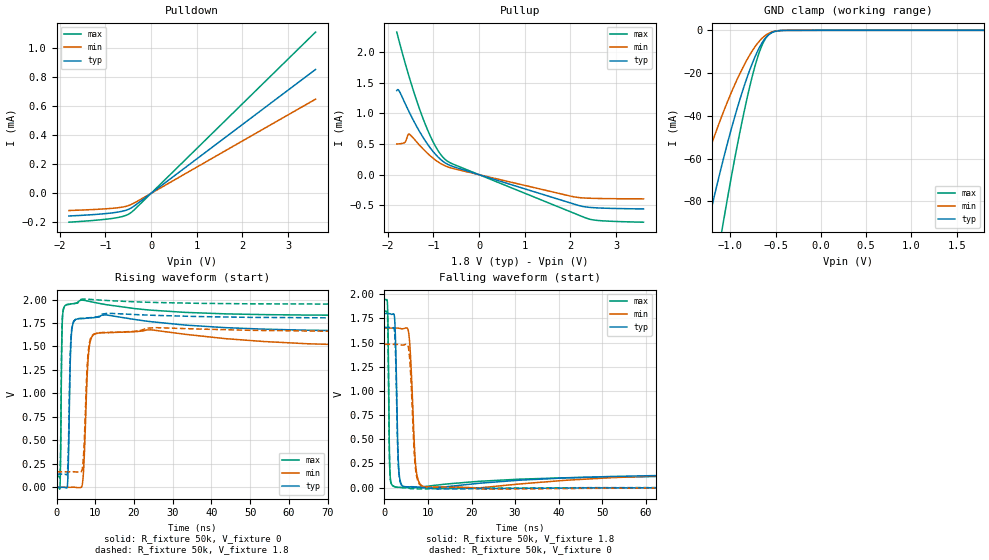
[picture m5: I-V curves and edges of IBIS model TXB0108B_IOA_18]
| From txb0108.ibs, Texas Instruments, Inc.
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[Model]   TXB0108B_IOA_18
Model_type  I/O
Enable   Active-High
Vref =   0
Rref =   1e6
Cref =   15p
Vmeas =   0.9
Vinl=0.5775
Vinh=1.2675
| variable   typ   min   max
C_comp   5.32pF   4.45pF   5.77pF
| C_pullup   5.21pF   4.42pF   5.60pF
| C_pulldown   11.66pF   3.88pF   30.69pF
| C_tri-state   5.32pF   4.45pF   5.77pF
[Temperature Range]   40   100   -40
| Ambient temperature   25   85   -40
[Voltage range]   1.8   1.65   1.95
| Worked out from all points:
|   slope of the pulldown table from 0 to 0.27 V, typ, clamps not added: 4.22 kohm
|   slope of the pullup table from 0 to 0.27 V, typ, clamps not added: 4.32 kohm
|   GND clamp passes 1 mA (typ) near -0.54 V on its own axis
|   rising waveform, R_fixture 50k, V_fixture 0: 20-80 % time 453ps typ, 786ps min, 265ps max; typ from 0 V to 1.66 V
|   falling waveform, R_fixture 50k, V_fixture 1.8: 20-80 % time 469ps typ, 850ps min, 265ps max; typ from 1.8 V to 0.14 V
|   rising waveform, R_fixture 50k, V_fixture 1.8: 20-80 % time 504ps typ, 884ps min, 289ps max; typ from 0.14 V to 1.8 V
|   falling waveform, R_fixture 50k, V_fixture 0: 20-80 % time 509ps typ, 932ps min, 284ps max; typ from 1.66 V to 0 V
[GND Clamp]
| TXB0108B_IOA_18
|   Voltage   I(typ)   I(min)   I(max)
-1.8V     -206.9mA   -138.6mA   -293.4mA
-1.5V     -140.7mA   -92.23mA   -204.1mA
-1.475V   -135.4mA   -88.63mA   -196.9mA
-1.255V   -91.66mA   -59mA      -135.4mA
-1.095V   -63.03mA   -40.08mA   -93.8mA
-1.075V   -59.68mA   -37.89mA   -88.84mA
-920mV    -35.74mA   -22.4mA    -52.83mA
-775mV    -17.27mA   -10.7mA    -24.26mA
-675mV    -7.671mA   -4.812mA   -9.558mA
-585mV    -2.367mA   -1.593mA   -2.348mA
-420mV    -66.39uA   -61.13uA   -31.92uA
1.8V      288.8pA    2.007nA    56.61pA
[Pulldown]
| TXB0108B_IOA_18
|   Voltage   I(typ)   I(min)   I(max)
-1.8V     -155.7uA   -118.2uA   -198.4uA
-800mV    -132.2uA   -101.5uA   -170.2uA
-575mV    -118.6uA   -91.27uA   -154.4uA
-435mV    -100.3uA   -76.61uA   -131.4uA
3.6V      851.7uA    647.4uA    1.108mA
[Pullup]
| TXB0108B_IOA_18
|   Voltage   I(typ)   I(min)   I(max)
-1.8V     1.374mA    500.6uA    2.329mA
-1.75V    1.369mA    503.3uA    2.185mA
-1.625V   1.175mA    526.5uA    1.843mA
-1.555V   1.064mA    650uA      1.662mA
-1.53V    1.026mA    662.4uA    1.6mA
-1.365V   788uA      534.9uA    1.21mA
-1.205V   585.9uA    405.2uA    877.3uA
-945mV    325.5uA    233.9uA    452.4uA
-715mV    180.6uA    135.8uA    232.9uA
1.995V    -461.2uA   -349.2uA   -604.4uA
2.385V    -532uA     -384uA     -719.7uA
3.6V      -559.7uA   -395.4uA   -776.5uA
[Ramp]
| TXB0108B_IOA_18
| variable   typ   min   max
dV/dt_r   1.11/5.47E-10   1.01/9.51E-10   1.21/3.19E-10
dV/dt_f   1.08/5.31E-10   0.99/9.75E-10   1.17/3.03E-10
R_load = 50k
[Rising Waveform]
| TXB0108B_IOA_18
R_fixture =   50k
C_fixture =   0
L_fixture =   0
V_fixture =   0
V_fixture_min = 0
V_fixture_max = 0
|   Time   V(typ)   V(min)   V(max)
0s        294.7nV    1.858uV    28.68nV
929ps     -47.93uV   13.28uV    32.5mV
1.369ns   79.8uV     19.44uV    1.563V
1.633ns   684.4uV    18.42uV    1.857V
2.865ns   46.99mV    -29.57uV   1.947V
3.877ns   1.644V     241.3uV    1.954V
6.209ns   1.797V     -3.6mV     1.992V
8.365ns   1.804V     1.463V     1.981V
10.65ns   1.812V     1.642V     1.962V
217ns     1.657V     1.482V     1.829V
[Falling Waveform]
| TXB0108B_IOA_18
R_fixture =   50k
C_fixture =   0
L_fixture =   0
V_fixture =   1.8
V_fixture_min = 1.65
V_fixture_max = 1.95
|   Time   V(typ)   V(min)   V(max)
0s        1.8V       1.65V      1.95V
709ps     1.8V       1.65V      1.887V
1.281ns   1.798V     1.65V      143.9mV
2.645ns   1.347V     1.65V      4.992mV
3.129ns   345.1mV    1.649V     2.453mV
3.613ns   70.19mV    1.646V     1.843mV
5.549ns   5.99mV     1.606V     -3.978mV
7.221ns   5.613mV    209.6mV    -1.335mV
9.201ns   -558.4uV   7.921mV    9.338mV
217ns     140.1mV    164.3mV    118.8mV
[Rising Waveform]
| TXB0108B_IOA_18
R_fixture =   50k
C_fixture =   0
L_fixture =   0
V_fixture =   1.8
V_fixture_min = 1.65
V_fixture_max = 1.95
|   Time   V(typ)   V(min)   V(max)
0s        140.1mV    164.7mV    118.8mV
929ps     140.1mV    164.7mV    150.8mV
1.369ns   140.2mV    164.7mV    1.613V
1.677ns   140.9mV    164.7mV    1.879V
2.865ns   187.5mV    164.6mV    1.948V
3.877ns   1.67V      164.9mV    1.955V
6.385ns   1.799V     165.5mV    2.002V
8.277ns   1.806V     1.478V     2.002V
10.52ns   1.816V     1.644V     1.996V
217ns     1.8V       1.65V      1.95V
[Falling Waveform]
| TXB0108B_IOA_18
R_fixture =   50k
C_fixture =   0
L_fixture =   0
V_fixture =   0
V_fixture_min = 0
V_fixture_max = 0
|   Time   V(typ)   V(min)   V(max)
0s        1.657V     1.482V     1.829V
709ps     1.657V     1.482V     1.768V
1.281ns   1.655V     1.482V     124.8mV
2.645ns   1.211V     1.482V     3.941mV
3.085ns   336.4mV    1.481V     1.747mV
3.569ns   66.39mV    1.478V     1.132mV
5.549ns   6.948mV    1.436V     -6.665mV
7.133ns   1.848mV    193.1mV    -13.67mV
9.069ns   -2.058mV   5.811mV    -14.18mV
217ns     27.29uV    -24.2uV    33.53uV
